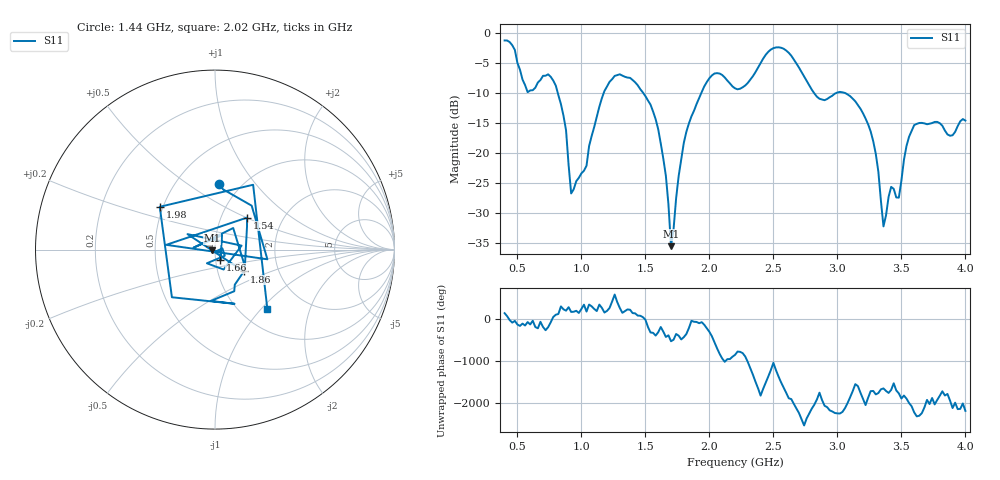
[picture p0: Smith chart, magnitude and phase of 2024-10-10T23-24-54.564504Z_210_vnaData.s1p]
! Created with skrf (http://scikit-rf.org).
# Hz S RI R 50.0
!freq ReS11 ImS11
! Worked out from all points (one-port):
!   181 points, 400 MHz to 4 GHz, reference 50 ohm
!   lowest |S11| = -35.6 dB at 1.7 GHz (marker M1), VSWR 1.03, Z = 48.4 - j0.448 ohm
!   |S11| at or under -10 dB: 815.1 MHz to 1.175 GHz (359.7 MHz wide, 36.2 % of centre); 1.482 GHz to 1.937 GHz (455.1 MHz wide, 26.6 % of centre); 3.055 GHz to end of sweep (the widest 3 of 4)
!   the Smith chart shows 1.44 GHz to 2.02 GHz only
!   S11 on the Smith chart (normalised r, x): 1.44 GHz: 0.80, +0.67; 1.54 GHz: 1.32, +0.50; 1.66 GHz: 1.06, -0.12; 1.86 GHz: 1.33, -0.34; 1.98 GHz: 0.48, +0.27; 2.02 GHz: 1.32, -1.09
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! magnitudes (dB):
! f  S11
! 400 MHz  -1.3
! 480 MHz  -2.8
! 580 MHz  -9.9
! 760 MHz  -7.3
! 860 MHz  -13.8
! 920 MHz  -26.8
! 1.04 GHz  -22.2
! 1.18 GHz  -9.7
! 1.3 GHz  -6.9
! 1.44 GHz  -8.7
! 1.54 GHz  -12.0
! 1.66 GHz  -23.9
! 1.7 GHz  -35.6
! 1.76 GHz  -23.9
! 1.86 GHz  -13.9
! 1.98 GHz  -8.2
! 2.02 GHz  -7.1
! 2.2 GHz  -9.2
! 2.5 GHz  -2.6
! 2.66 GHz  -4.5
! 2.86 GHz  -11.0
! 3.1 GHz  -10.6
! 3.28 GHz  -18.1
! 3.36 GHz  -32.3
! 3.42 GHz  -25.7
! 3.48 GHz  -27.5
! 3.56 GHz  -17.3
! 4 GHz  -14.6
